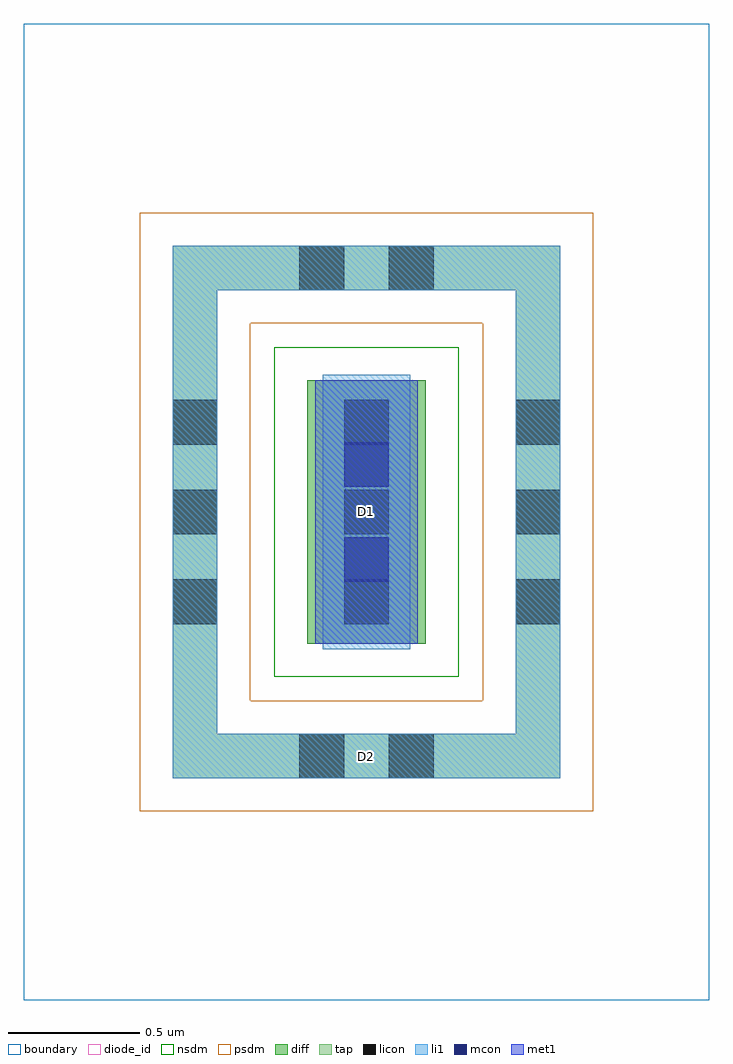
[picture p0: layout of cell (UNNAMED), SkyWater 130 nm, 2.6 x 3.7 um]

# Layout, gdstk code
import gdstk
lib = gdstk.Library(unit=1e-6, precision=1e-09)
def R(c, l, rs):  # rectangles x0, y0, x1, y1
    for r in rs: c.add(gdstk.rectangle(r[:2], r[2:], *l))
def A(c, l, x, y, w, h, nx, ny, dx, dy):  # array of equal rectangles
    R(c, l, [(x+i*dx, y+j*dy, x+i*dx+w, y+j*dy+h) for i in range(nx) for j in range(ny)])
diff = (65, 20)
tap = (65, 44)
licon = (66, 44)
li1 = (67, 20)
mcon = (67, 44)
met1 = (68, 20)
diode_id = (81, 23)
nsdm = (93, 44)
psdm = (94, 20)
boundary = (235, 4)

c__unnamed_ = lib.new_cell('(UNNAMED)')
R(c__unnamed_, diff, [(-0.225,-0.5,0.225,0.5)])
R(c__unnamed_, tap, [(-0.735,-1.01,0.735,-0.84), (-0.735,-0.84,-0.565,0.84), (0.565,-0.84,0.735,0.84), (-0.735,0.84,0.735,1.01)])
A(c__unnamed_, licon, -0.735, -0.425, 0.17, 0.17, 3, 3, 0.65, 0.34)
R(c__unnamed_, licon, [(-0.255,-1.01,-0.085,-0.84), (0.085,-1.01,0.255,-0.84), (-0.255,0.84,-0.085,1.01), (0.085,0.84,0.255,1.01)])
R(c__unnamed_, li1, [(-0.735,-1.01,0.735,-0.84), (-0.735,-0.84,-0.565,0.84), (0.565,-0.84,0.735,0.84), (-0.165,-0.52,0.165,0.52), (-0.735,0.84,0.735,1.01)])
R(c__unnamed_, mcon, [(-0.085,-0.265,0.085,-0.095), (-0.085,0.095,0.085,0.265)])
R(c__unnamed_, met1, [(-0.195,-0.5,0.195,0.5)])
R(c__unnamed_, diode_id, [(-0.225,-0.5,0.225,0.5)])
R(c__unnamed_, nsdm, [(-0.35,-0.625,0.35,0.625)])
R(c__unnamed_, psdm, [(-0.86,-1.135,0.86,-0.715), (-0.86,-0.715,-0.44,0.715), (0.44,-0.715,0.86,0.715), (-0.86,0.715,0.86,1.135)])
R(c__unnamed_, boundary, [(-1.3,-1.85,1.3,1.85)])
c__unnamed_.add(gdstk.Label('D2', (0,-0.925), layer=67, texttype=5))
c__unnamed_.add(gdstk.Label('D1', (0,0), layer=67, texttype=5))

lib.write_gds('_UNNAMED_.gds')
